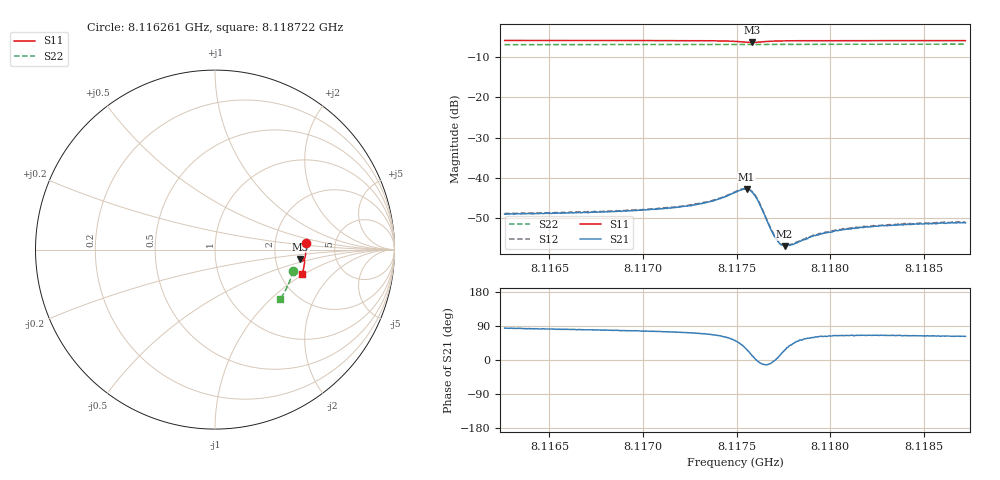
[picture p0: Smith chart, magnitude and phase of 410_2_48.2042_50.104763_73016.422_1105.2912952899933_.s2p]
#  HZ  S  RI  R  50.00
! Rohde & Schwarz Vector Network Analyzer
! Rohde-Schwarz,ZNB20-2Port,1311601062101988,3.16
! Created: UTC 3/20/2024, 11:54:23 AM
! freq[Hz]  re:S11  im:S11  re:S21  im:S21  re:S12  im:S12  re:S22  im:S22
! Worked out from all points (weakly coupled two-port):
!   401 points, 8.116261 GHz to 8.118722 GHz, reference 50 ohm
!   highest |S21| = -42.81 dB at 8.117553 GHz (marker M1); lowest = -57.0 dB at 8.117756 GHz (marker M2)
!   lowest |S11| = -6.4 dB at 8.117584 GHz (marker M3), VSWR 2.84, Z = 139 - j19 ohm
!   |S11| at or under -10 dB: nowhere
!   |S22| runs from -6.9 to -6.8 dB; largest |S21 - S12| = 0.00018
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8.1162609e9  0.5056 0.0389  0.000362 0.00351  0.000428 0.0036  0.4335 -0.1188
8.1166731e9  0.5064 0.00767  0.000633 0.00362  0.00066 0.00368  0.426 -0.1465
8.1170853e9  0.5048 -0.0245  0.00105 0.00398  0.00112 0.00401  0.4168 -0.1738
8.1172453e9  0.5032 -0.038  0.00141 0.00429  0.00145 0.00435  0.4128 -0.1843
8.1173499e9  0.5008 -0.0476  0.00187 0.00464  0.00191 0.00472  0.41 -0.1911
8.1174176e9  0.4977 -0.0547  0.0025 0.00499  0.00256 0.00503  0.408 -0.1955
8.1174914e9  0.4901 -0.0621  0.00408 0.00514  0.00425 0.0052  0.4056 -0.2001
8.1175222e9  0.4845 -0.0632  0.00524 0.00471  0.00538 0.00477  0.4044 -0.202
8.1175529e9  0.4782 -0.0603  0.00637 0.00343  0.00651 0.00346  0.4033 -0.2037
8.1175714e9  0.476 -0.0561  0.00663 0.00218  0.00678 0.00217  0.4027 -0.2046
8.1175837e9  0.4758 -0.0527  0.00647 0.00128  0.00661 0.00125  0.4025 -0.2052
8.1176144e9  0.4807 -0.0466  0.00516 -0.000385  0.00526 -0.000389  0.4019 -0.2068
8.1176883e9  0.494 -0.0503  0.00212 -0.000251  0.00218 -0.000299  0.4005 -0.2115
8.1177067e9  0.4956 -0.0526  0.00182 -1.45e-05  0.00183 2.6e-07  0.3998 -0.2128
8.1177313e9  0.497 -0.0557  0.00148 0.000315  0.00152 0.000322  0.3992 -0.2142
8.1177559e9  0.4979 -0.0587  0.00128 0.000606  0.00131 0.000569  0.3984 -0.2161
8.117799e9  0.4987 -0.0635  0.00109 0.001  0.00114 0.00101  0.3972 -0.2187
8.1179036e9  0.4988 -0.0739  0.000955 0.00161  0.000973 0.00162  0.3938 -0.2255
8.1179651e9  0.4982 -0.0793  0.000961 0.00181  0.000962 0.00183  0.3919 -0.2294
8.1180697e9  0.497 -0.0879  0.000995 0.00204  0.00102 0.0021  0.3884 -0.2358
8.1183158e9  0.4933 -0.107  0.00108 0.00232  0.00113 0.00237  0.3797 -0.2507
8.1187219e9  0.4858 -0.137  0.00127 0.00244  0.00133 0.00251  0.3641 -0.2748
